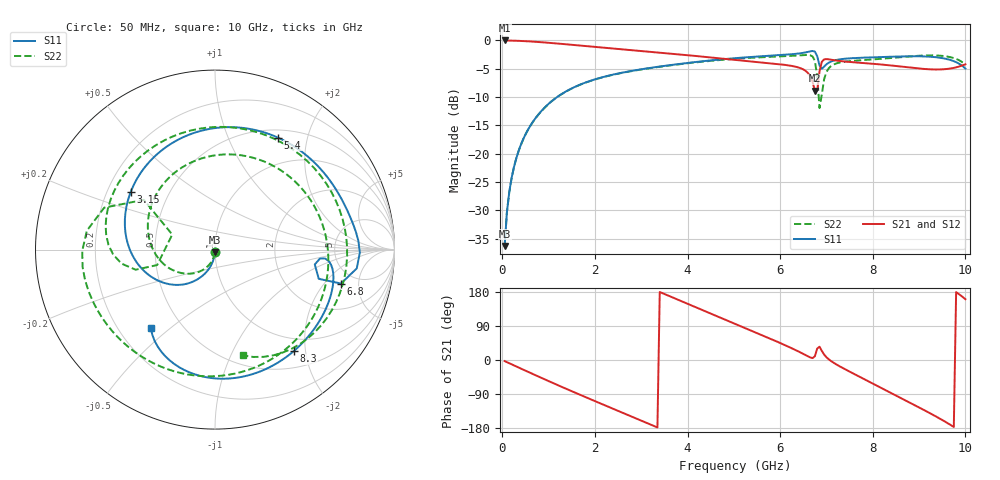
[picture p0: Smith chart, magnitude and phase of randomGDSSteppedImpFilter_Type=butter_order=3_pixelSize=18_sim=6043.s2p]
! freq	dB(S11)	phase(S11)	dB(S12)	phase(S12)
!  dB(S21)	phase(S21)	dB(S22)	phase(S22)
!S-par simulation data
#  GHz  S  DB  R 50
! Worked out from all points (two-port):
!   200 points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, 50 MHz to 10 GHz, reference 50 ohm
!   highest |S21| = 0.00 dB at 50 MHz (marker M1); lowest = -8.9 dB at 6.75 GHz (marker M2)
!   |S21| within 3 dB of the highest: start of sweep to 4.494 GHz
!   lowest |S11| = -36.3 dB at 50 MHz (marker M3), VSWR 1.03, Z = 49.9 - j1.52 ohm
!   |S11| at or under -10 dB: start of sweep to 1.185 GHz
!   |S22| runs from -36.3 to -2.6 dB; largest |S21 - S12| = 0
!   S11 on the Smith chart (normalised r, x): 50 MHz: 1.00, -0.03; 3.15 GHz: 0.30, +0.28; 5.4 GHz: 0.60, +1.54; 6.8 GHz: 3.78, -3.04; 8.3 GHz: 0.77, -1.78; 10 GHz: 0.34, -0.43
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0.05  -36.33 -92.4  -0.00 -2.9  -0.00 -2.9  -36.35 -93.5
0.2  -24.35 -99.4  -0.03 -11.3  -0.03 -11.3  -24.36 -104.0
0.5  -16.61 -113.3  -0.13 -28.1  -0.13 -28.1  -16.64 -124.5
1.15  -10.20 -140.9  -0.52 -63.8  -0.52 -63.8  -10.21 -168.0
1.75  -7.58 -164.5  -0.96 -95.5  -0.96 -95.5  -7.60 152.2
2.55  -5.76 166.6  -1.54 -136.8  -1.54 -136.8  -5.79 98.4
3.15  -4.91 145.9  -1.96 -167.7  -1.96 -167.7  -4.95 57.6
3.4  -4.61 137.2  -2.14 179.4  -2.14 179.4  -4.65 40.6
4.2  -3.79 108.2  -2.76 138.1  -2.76 138.1  -3.85 -12.5
5.05  -3.12 75.0  -3.45 94.5  -3.45 94.5  -3.24 -65.7
5.4  -2.90 60.6  -3.73 76.4  -3.73 76.4  -3.05 -87.0
6.2  -2.47 26.6  -4.43 33.9  -4.43 33.9  -2.74 -138.1
6.7  -1.86 -1.2  -7.32 5.0  -7.32 5.0  -2.83 171.6
6.75  -1.97 -7.5  -8.88 9.9  -8.88 9.9  -3.61 159.3
6.8  -2.77 -15.1  -8.86 30.3  -8.86 30.3  -6.31 145.0
6.85  -4.43 -15.7  -5.47 35.0  -5.47 35.0  -11.95 160.6
6.95  -4.63 -4.8  -3.34 14.3  -3.34 14.3  -6.83 -165.8
7.45  -3.19 -20.7  -3.77 -27.5  -3.77 -27.5  -3.70 145.4
8.3  -2.90 -52.2  -4.34 -80.7  -4.34 -80.7  -3.16 70.5
8.35  -2.89 -54.1  -4.39 -83.9  -4.39 -83.9  -3.13 66.0
9.15  -2.84 -85.9  -5.06 -134.9  -5.06 -134.9  -2.65 -3.0
10  -4.97 -129.4  -4.21 160.5  -4.21 160.5  -4.30 -75.2
